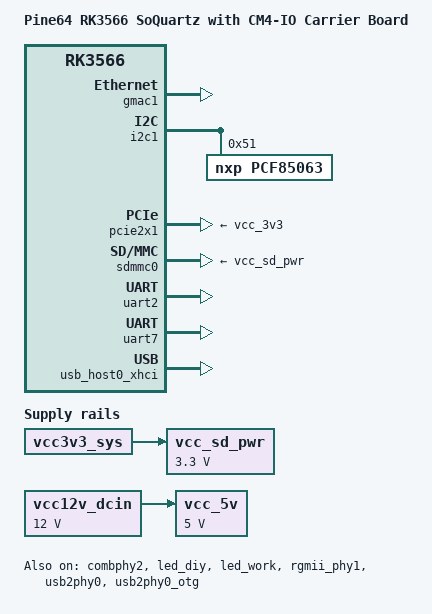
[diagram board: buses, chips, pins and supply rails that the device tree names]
// SPDX-License-Identifier: (GPL-2.0+ OR MIT)

/dts-v1/;

#include "rk3566-soquartz.dtsi"

/ {
	model = "Pine64 RK3566 SoQuartz with CM4-IO Carrier Board";
	compatible = "pine64,soquartz-cm4io", "pine64,soquartz", "rockchip,rk3566";

	/* labeled +12v in schematic */
	vcc12v_dcin: vcc12v-dcin-regulator {
		compatible = "regulator-fixed";
		regulator-name = "vcc12v_dcin";
		regulator-always-on;
		regulator-boot-on;
		regulator-min-microvolt = <12000000>;
		regulator-max-microvolt = <12000000>;
	};

	/* labeled +5v in schematic */
	vcc_5v: vcc-5v-regulator {
		compatible = "regulator-fixed";
		regulator-name = "vcc_5v";
		regulator-always-on;
		regulator-boot-on;
		regulator-min-microvolt = <5000000>;
		regulator-max-microvolt = <5000000>;
		vin-supply = <&vcc12v_dcin>;
	};

	vcc_sd_pwr: vcc-sd-pwr-regulator {
		compatible = "regulator-fixed";
		regulator-name = "vcc_sd_pwr";
		regulator-always-on;
		regulator-boot-on;
		regulator-min-microvolt = <3300000>;
		regulator-max-microvolt = <3300000>;
		vin-supply = <&vcc3v3_sys>;
	};
};

/* phy for pcie */
&combphy2 {
	phy-supply = <&vcc3v3_sys>;
	status = "okay";
};

&gmac1 {
	status = "okay";
};

/*
 * i2c1 is exposed on CM1 / Module1A
 * pin 80 - SCL0 - i2c1_scl_m0, pullup to vcc3v3_pmu
 * pin 82 - SDA0 - i2c1_sda_m0, pullup to vcc3v3_pmu
 */
&i2c1 {
	status = "okay";

	/*
	 * the rtc interrupt is tied to PMIC_PWRON,
	 * it will force reset the board if triggered.
	 */
	pcf85063: rtc@51 {
		compatible = "nxp,pcf85063";
		reg = <0x51>;
	};
};

/*
 * i2c2 is exposed on CM1 / Module1A - to PI40
 * pin 56 - GPIO3 - i2c2_scl_m1, pullup to vcc_3v3, shared with i2s1_8ch
 * pin 58 - GPIO2 - i2c2_sda_m1, pullup to vcc_3v3
 */
&i2c2 {
	status = "disabled";
};

/*
 * i2c3 is exposed on CM1 / Module1A - to PI40
 * pin 35 - ID_SC(GPIO28) - i2c3_scl_m0, pullup to vcc_3v3
 * pin 36 - ID_SD(GPIO27) - i2c3_sda_m0, pullup to vcc_3v3
 */
&i2c3 {
	status = "disabled";
};

/*
 * i2c4 is exposed on CM2 / Module1B - to PI40
 * pin 45 - GPIO24 - i2c4_scl_m1
 * pin 47 - GPIO23 - i2c4_sda_m1
 */
&i2c4 {
	status = "disabled";
};

/*
 * i2s1_8ch is exposed on CM1 / Module1A - to PI40
 * pin 24 - GPIO26 - i2s1_sdi1_m1
 * pin 25 - GPIO21 - i2s1_sdo0_m1
 * pin 26 - GPIO19 - i2s1_lrck_tx_m1
 * pin 27 - GPIO20 - i2s1_sdi0_m1
 * pin 29 - GPIO16 - i2s1_sdi3_m1
 * pin 30 - GPIO6  - i2s1_sdi2_m1
 * pin 40 - GPIO9  - i2s1_sdo1_m1, shared with spi3
 * pin 41 - GPIO25 - i2s1_sdo2_m1
 * pin 49 - GPIO18 - i2s1_sclk_tx_m1
 * pin 50 - GPIO17 - i2s1_mclk_m1
 * pin 56 - GPIO3  - i2s1_sdo3_m1, shared with i2c2
 */
&i2s1_8ch {
	status = "disabled";
};

&led_diy {
	status = "okay";
};

&led_work {
	status = "okay";
};

&pcie2x1 {
	vpcie3v3-supply = <&vcc_3v3>;
	status = "okay";
};

&rgmii_phy1 {
	status = "okay";
};

/*
 * saradc is exposed on CM1 / Module1A - to J2
 * pin 94 - AIN1 - saradc_vin3
 * pin 96 - AIN0 - saradc_vin2
 */
&saradc {
	status = "disabled";
};

&sdmmc0 {
	vmmc-supply = <&vcc_sd_pwr>;
	status = "okay";
};

/*
 *  spi3 is exposed on CM1 / Module1A - to PI40
 * pin 37 - GPIO7  - spi3_cs1_m0
 * pin 38 - GPIO11 - spi3_clk_m0
 * pin 39 - GPIO8  - spi3_cs0_m0
 * pin 40 - GPIO9  - spi3_miso_m0, shared with i2s1_8ch
 * pin 44 - GPIO10 - spi3_mosi_m0
 */
&spi3 {
	status = "disabled";
};

/*
 * uart2 is exposed on CM1 / Module1A - to PI40
 * pin 51 - GPIO15 - uart2_rx_m0
 * pin 55 - GPIO14 - uart2_tx_m0
 */
&uart2 {
	status = "okay";
};

/*
 * uart7 is exposed on CM1 / Module1A - to PI40
 * pin 46 - GPIO22 - uart7_tx_m2
 * pin 47 - GPIO23 - uart7_rx_m2
 */
&uart7 {
	status = "okay";
};

&usb2phy0 {
	status = "okay";
};

&usb2phy0_otg {
	phy-supply = <&vcc_5v>;
	status = "okay";
};

&usb_host0_xhci {
	status = "okay";
};

&vbus {
	vin-supply = <&vcc_5v>;
};
